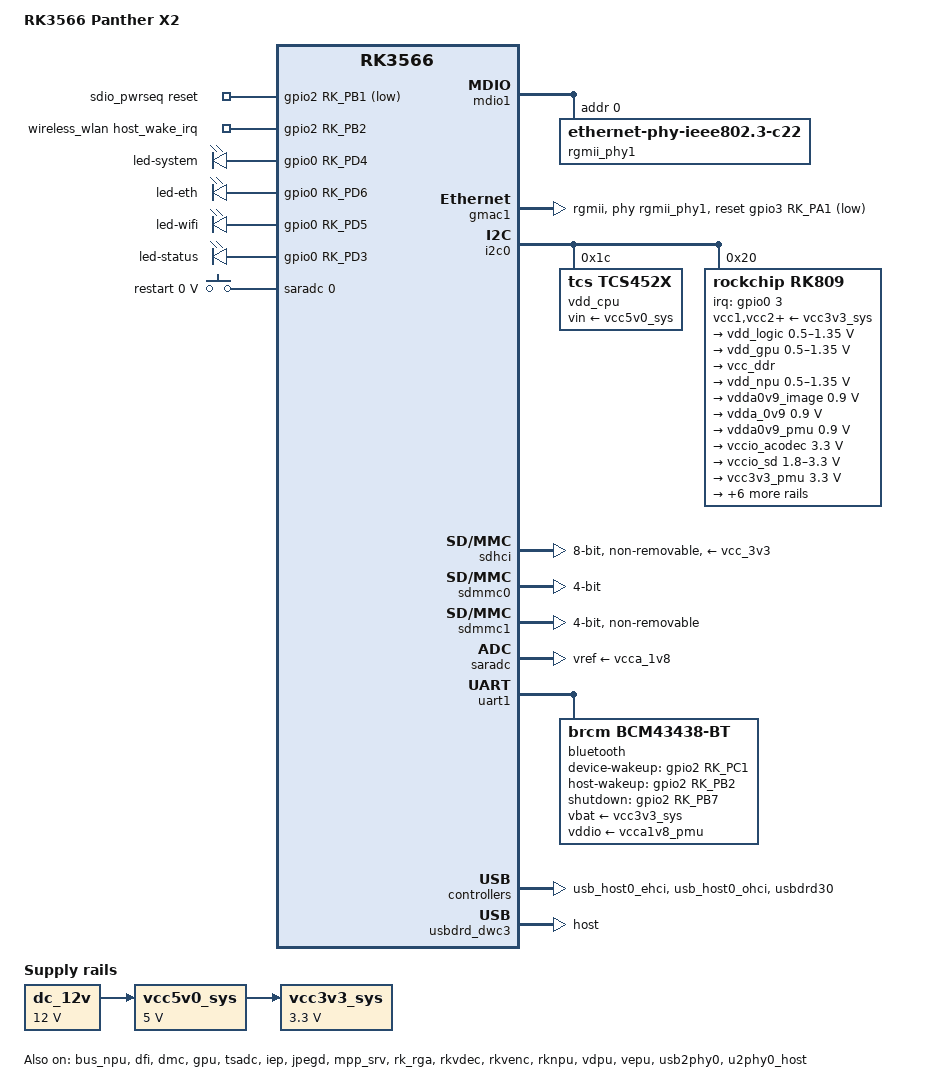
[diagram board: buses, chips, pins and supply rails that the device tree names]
/dts-v1/;
#include <dt-bindings/gpio/gpio.h>
#include <dt-bindings/leds/common.h>
#include <dt-bindings/input/rk-input.h>
#include "rk3566.dtsi"

/ {
	model = "RK3566 Panther X2";
	compatible = "rockchip,panther-x2", "rockchip,rk3566";

	chosen: chosen {
		stdout-path = &uart2;
		u-boot,spl-boot-order = &sdmmc0, &sdhci;
	};

	aliases: aliases {
		mmc0 = &sdhci;
		mmc1 = &sdmmc0;
	};

	fiq_debugger: fiq-debugger {
		compatible = "rockchip,fiq-debugger";
		rockchip,serial-id = <2>;
		rockchip,wake-irq = <0>;
		rockchip,irq-mode-enable = <1>;
		rockchip,baudrate = <1500000>;
		interrupts = <GIC_SPI 252 IRQ_TYPE_LEVEL_LOW>;
		pinctrl-names = "default";
		pinctrl-0 = <&uart2m0_xfer>;
		status = "okay";
	};

	dc_12v: dc-12v {
		compatible = "regulator-fixed";
		regulator-name = "dc_12v";
		regulator-min-microvolt = <12000000>;
		regulator-max-microvolt = <12000000>;
		regulator-always-on;
		regulator-boot-on;
	};

	vcc5v0_sys: vcc5v0-sys {
		compatible = "regulator-fixed";
		regulator-name = "vcc5v0_sys";
		regulator-min-microvolt = <5000000>;
		regulator-max-microvolt = <5000000>;
		regulator-always-on;
		regulator-boot-on;
		vin-supply = <&dc_12v>;
	};
	
	vcc3v3_sys: vcc3v3-sys {
		compatible = "regulator-fixed";
		regulator-name = "vcc3v3_sys";
		regulator-min-microvolt = <3300000>;
		regulator-max-microvolt = <3300000>;
		regulator-always-on;
		regulator-boot-on;
		vin-supply = <&vcc5v0_sys>;
	};

	sdio_pwrseq: sdio-pwrseq {
		compatible = "mmc-pwrseq-simple";
		clocks = <&rk809 1>;
		clock-names = "ext_clock";
		post-power-on-delay-ms = <100>;
		reset-gpios = <&gpio2 RK_PB1 GPIO_ACTIVE_LOW>;
	};

	wireless_wlan: wireless-wlan {
		compatible = "wlan-platdata";
		WIFI,host_wake_irq = <&gpio2 RK_PB2 GPIO_ACTIVE_HIGH>;
		rockchip,grf = <&grf>;
		wifi_chip_type = "ap6236";
		status = "okay";
	};

	leds: leds {
		compatible = "gpio-leds";

		led-system {
			gpios = <&gpio0 RK_PD4 GPIO_ACTIVE_HIGH>;
			linux,default-trigger = "default-on";
			function = LED_FUNCTION_POWER;
			default-state = "on";
		};

		led-eth {
			gpios = <&gpio0 RK_PD6 GPIO_ACTIVE_HIGH>;
			linux,default-trigger = "activity";
			function = LED_FUNCTION_ACTIVITY;
			default-state = "on";
		};

		led-wifi {
			gpios = <&gpio0 RK_PD5 GPIO_ACTIVE_HIGH>;
			linux,default-trigger = "activity";
			function = LED_FUNCTION_ACTIVITY;
			default-state = "on";
		};

		led-status {
			gpios = <&gpio0 RK_PD3 GPIO_ACTIVE_HIGH>;
			linux,default-trigger = "heartbeat";
			function = LED_FUNCTION_HEARTBEAT;
			default-state = "on";
		};
	};

	adc_keys: adc-keys {
		compatible = "adc-keys";
		io-channels = <&saradc 0>;
		io-channel-names = "buttons";
		keyup-threshold-microvolt = <1800000>;
		poll-interval = <100>;

		restart-key {
			label = "restart";
			linux,code = <KEY_RESTART>;
			press-threshold-microvolt = <0>;
		};
	};
};

&mdio1 {
	rgmii_phy1: ethernet-phy@0 {
		compatible = "ethernet-phy-ieee802.3-c22";
		reg = <0x0>;
	};
};

&gmac1 {
	assigned-clocks = <&cru SCLK_GMAC1_RX_TX>, <&cru SCLK_GMAC1>;
	assigned-clock-parents = <&cru SCLK_GMAC1_RGMII_SPEED>, <&cru CLK_MAC1_2TOP>;
	assigned-clock-rates = <0>, <125000000>;
	clock_in_out = "input";

	snps,reset-gpio = <&gpio3 RK_PA1 GPIO_ACTIVE_LOW>;
	snps,reset-active-low;
	snps,reset-delays-us = <0 20000 100000>;

	phy-handle = <&rgmii_phy1>;
	phy-mode = "rgmii";

	pinctrl-names = "default";
	pinctrl-0 = <&gmac1m0_miim
		     &gmac1m0_tx_bus2
		     &gmac1m0_rx_bus2
		     &gmac1m0_rgmii_clk
		     &gmac1m0_rgmii_bus>;

	tx_delay = <0x41>;
	rx_delay = <0x2e>;

	status = "okay";
};

&bus_npu {
	bus-supply = <&vdd_logic>;
	pvtm-supply = <&vdd_cpu>;
	status = "okay";
};

&cpu0 {
	cpu-supply = <&vdd_cpu>;
};

&cpu1 {
	cpu-supply = <&vdd_cpu>;
};

&cpu2 {
	cpu-supply = <&vdd_cpu>;
};

&cpu3 {
	cpu-supply = <&vdd_cpu>;
};

&dfi {
	status = "okay";
};

&dmc {
	center-supply = <&vdd_logic>;
	status = "okay";
};

&gpu {
	clock-names = "gpu", "bus";
	interrupt-names = "gpu", "mmu", "job";
	mali-supply = <&vdd_gpu>;
	status = "okay";
};

&i2c0 {
	status = "okay";

	vdd_cpu: tcs4525@1c {
		compatible = "tcs,tcs452x";
		reg = <0x1c>;
		vin-supply = <&vcc5v0_sys>;
		regulator-compatible = "fan53555-reg";
		regulator-name = "vdd_cpu";
		regulator-min-microvolt = <712500>;
		regulator-max-microvolt = <1390000>;
		regulator-init-microvolt = <900000>;
		regulator-ramp-delay = <2300>;
		fcs,suspend-voltage-selector = <1>;
		regulator-boot-on;
		regulator-always-on;

		regulator-state-mem {
			regulator-off-in-suspend;
		};
	};

	rk809: pmic@20 {
		compatible = "rockchip,rk809";
		reg = <0x20>;
		interrupt-parent = <&gpio0>;
		interrupts = <3 IRQ_TYPE_LEVEL_LOW>;
		rockchip,system-power-controller;
		wakeup-source;
		#clock-cells = <1>;
		clock-output-names = "rk808-clkout1", "rk808-clkout2";
		pmic-reset-func = <0>;
		not-save-power-en = <1>;

		vcc1-supply = <&vcc3v3_sys>;
		vcc2-supply = <&vcc3v3_sys>;
		vcc3-supply = <&vcc3v3_sys>;
		vcc4-supply = <&vcc3v3_sys>;
		vcc5-supply = <&vcc3v3_sys>;
		vcc6-supply = <&vcc3v3_sys>;
		vcc7-supply = <&vcc3v3_sys>;
		vcc8-supply = <&vcc3v3_sys>;
		vcc9-supply = <&vcc3v3_sys>;

		pwrkey {
			status = "okay";
		};

		regulators {

			vdd_logic: DCDC_REG1 {
				regulator-always-on;
				regulator-boot-on;
				regulator-min-microvolt = <500000>;
				regulator-max-microvolt = <1350000>;
				regulator-init-microvolt = <900000>;
				regulator-ramp-delay = <6001>;
				regulator-initial-mode = <0x02>;
				regulator-name = "vdd_logic";

				regulator-state-mem {
					regulator-off-in-suspend;
				};
			};

			vdd_gpu: DCDC_REG2 {
				regulator-always-on;
				regulator-boot-on;
				regulator-min-microvolt = <500000>;
				regulator-max-microvolt = <1350000>;
				regulator-init-microvolt = <900000>;
				regulator-ramp-delay = <6001>;
				regulator-initial-mode = <0x02>;
				regulator-name = "vdd_gpu";

				regulator-state-mem {
					regulator-off-in-suspend;
				};
			};

			vcc_ddr: DCDC_REG3 {
				regulator-always-on;
				regulator-boot-on;
				regulator-initial-mode = <0x02>;
				regulator-name = "vcc_ddr";

				regulator-state-mem {
					regulator-on-in-suspend;
				};
			};

			vdd_npu: DCDC_REG4 {
				regulator-always-on;
				regulator-boot-on;
				regulator-min-microvolt = <500000>;
				regulator-max-microvolt = <1350000>;
				regulator-init-microvolt = <900000>;
				regulator-ramp-delay = <6001>;
				regulator-initial-mode = <0x02>;
				regulator-name = "vdd_npu";

				regulator-state-mem {
					regulator-off-in-suspend;
				};
			};

			vdda0v9_image: LDO_REG1 {
				regulator-boot-on;
				regulator-always-on;
				regulator-min-microvolt = <900000>;
				regulator-max-microvolt = <900000>;
				regulator-name = "vdda0v9_image";

				regulator-state-mem {
					regulator-off-in-suspend;
				};
			};

			vdda_0v9: LDO_REG2 {
				regulator-always-on;
				regulator-boot-on;
				regulator-min-microvolt = <900000>;
				regulator-max-microvolt = <900000>;
				regulator-name = "vdda_0v9";

				regulator-state-mem {
					regulator-off-in-suspend;
				};
			};

			vdda0v9_pmu: LDO_REG3 {
				regulator-always-on;
				regulator-boot-on;
				regulator-min-microvolt = <900000>;
				regulator-max-microvolt = <900000>;
				regulator-name = "vdda0v9_pmu";

				regulator-state-mem {
					regulator-on-in-suspend;
					regulator-suspend-microvolt = <900000>;
				};
			};

			vccio_acodec: LDO_REG4 {
				regulator-always-on;
				regulator-boot-on;
				regulator-min-microvolt = <3300000>;
				regulator-max-microvolt = <3300000>;
				regulator-name = "vccio_acodec";

				regulator-state-mem {
					regulator-off-in-suspend;
				};
			};

			vccio_sd: LDO_REG5 {
				regulator-always-on;
				regulator-boot-on;
				regulator-min-microvolt = <1800000>;
				regulator-max-microvolt = <3300000>;
				regulator-name = "vccio_sd";

				regulator-state-mem {
					regulator-off-in-suspend;
				};
			};

			vcc3v3_pmu: LDO_REG6 {
				regulator-always-on;
				regulator-boot-on;
				regulator-min-microvolt = <3300000>;
				regulator-max-microvolt = <3300000>;
				regulator-name = "vcc3v3_pmu";

				regulator-state-mem {
					regulator-on-in-suspend;
					regulator-suspend-microvolt = <3300000>;
				};
			};

			vcca_1v8: LDO_REG7 {
				regulator-always-on;
				regulator-boot-on;
				regulator-min-microvolt = <1800000>;
				regulator-max-microvolt = <1800000>;
				regulator-name = "vcca_1v8";

				regulator-state-mem {
					regulator-off-in-suspend;
				};
			};

			vcca1v8_pmu: LDO_REG8 {
				regulator-always-on;
				regulator-boot-on;
				regulator-min-microvolt = <1800000>;
				regulator-max-microvolt = <1800000>;
				regulator-name = "vcca1v8_pmu";

				regulator-state-mem {
					regulator-on-in-suspend;
					regulator-suspend-microvolt = <1800000>;
				};
			};

			vcca1v8_image: LDO_REG9 {
				regulator-always-on;
				regulator-boot-on;
				regulator-min-microvolt = <1800000>;
				regulator-max-microvolt = <1800000>;
				regulator-name = "vcca1v8_image";

				regulator-state-mem {
					regulator-off-in-suspend;
				};
			};

			vcc_1v8: DCDC_REG5 {
				regulator-always-on;
				regulator-boot-on;
				regulator-min-microvolt = <1800000>;
				regulator-max-microvolt = <1800000>;
				regulator-name = "vcc_1v8";

				regulator-state-mem {
					regulator-off-in-suspend;
				};
			};

			vcc_3v3: SWITCH_REG1 {
				regulator-always-on;
				regulator-boot-on;
				regulator-name = "vcc_3v3";

				regulator-state-mem {
					regulator-off-in-suspend;
				};
			};

			vcc3v3_sd: SWITCH_REG2 {
				regulator-always-on;
				regulator-boot-on;
				regulator-name = "vcc3v3_sd";

				regulator-state-mem {
					regulator-off-in-suspend;
				};
			};
		};

		rk809_codec: codec {
			#sound-dai-cells = <0>;
			compatible = "rockchip,rk809-codec", "rockchip,rk817-codec";
			clocks = <&cru I2S1_MCLKOUT>;
			clock-names = "mclk";
			assigned-clocks = <&cru I2S1_MCLKOUT>, <&cru I2S1_MCLK_TX_IOE>;
			assigned-clock-rates = <12288000>;
			assigned-clock-parents = <&cru I2S1_MCLKOUT_TX>, <&cru I2S1_MCLKOUT_TX>;
			pinctrl-names = "default";
			pinctrl-0 = <&i2s1m0_mclk>;
			hp-volume = <20>;
			spk-volume = <3>;
			mic-in-differential;
			status = "okay";
		};
	};
};

&pmu_io_domains {
	pmuio1-supply = <&vcc3v3_pmu>;
	pmuio2-supply = <&vcc3v3_pmu>;
	vccio1-supply = <&vccio_acodec>;
	vccio3-supply = <&vccio_sd>;
	vccio4-supply = <&vcc_1v8>;
	vccio5-supply = <&vcc_3v3>;
	vccio6-supply = <&vcc_3v3>;
	vccio7-supply = <&vcc_3v3>;
	status = "okay";
};

&sdhci {
	bus-width = <8>;
	mmc-hs200-1_8v;
	non-removable;
	vmmc-supply = <&vcc_3v3>;
	vqmmc-supply = <&vcc_1v8>;
	status = "okay";
};

&sdmmc0 {
	bus-width = <4>;
	cap-mmc-highspeed;
	cap-sd-highspeed;
	supports-sd;
	disable-wp;
	pinctrl-names = "default";
	pinctrl-0 = <&sdmmc0_bus4 &sdmmc0_clk &sdmmc0_cmd &sdmmc0_det>;
	vqmmc-supply = <&vccio_sd>;
	status = "okay";
};

&sdmmc1 {
	supports-sdio;
	bus-width = <4>;
	disable-wp;
	cap-sd-highspeed;
	cap-sdio-irq;
	keep-power-in-suspend;
	non-removable;
	mmc-pwrseq = <&sdio_pwrseq>;
	pinctrl-names = "default";
	pinctrl-0 = <&sdmmc1_bus4 &sdmmc1_cmd &sdmmc1_clk>;
	status = "okay";
};

&tsadc {
	rockchip,hw-tshut-mode = <0>;
	rockchip,hw-tshut-polarity = <0>;
	rockchip,hw-tshut-temp = <120000>;
	status = "okay";
};

&saradc {
	vref-supply = <&vcca_1v8>;
	status = "okay";
};

&uart1 {
	status = "okay";
	pinctrl-names = "default";
	pinctrl-0 = <&uart1m0_xfer &uart1m0_ctsn &uart1m0_rtsn>;

	bluetooth {
		compatible = "brcm,bcm43438-bt";
		clocks = <&rk809 1>;
		clock-names = "ext_clock";
		device-wakeup-gpios = <&gpio2 RK_PC1 GPIO_ACTIVE_HIGH>;
		host-wakeup-gpios = <&gpio2 RK_PB2 GPIO_ACTIVE_HIGH>;
		shutdown-gpios = <&gpio2 RK_PB7 GPIO_ACTIVE_HIGH>;
		vbat-supply = <&vcc3v3_sys>;
		vddio-supply = <&vcca1v8_pmu>;
	};
};

&uart2 {
	status = "disabled";
};

&iep {
	status = "okay";
};

&iep_mmu {
	status = "okay";
};

&jpegd {
	status = "okay";
};

&jpegd_mmu {
	status = "okay";
};

&mpp_srv {
	status = "okay";
};

&rk_rga {
	status = "okay";
};

&rkvdec {
	status = "okay";
};

&rkvdec_mmu {
	status = "okay";
};

&rkvenc {
	venc-supply = <&vdd_logic>;
	status = "okay";
};

&rkvenc_mmu {
	status = "okay";
};

&rknpu {
	rknpu-supply = <&vdd_npu>;
	status = "okay";
};

&rknpu_mmu {
	status = "okay";
};

&vdpu {
	status = "okay";
};

&vdpu_mmu {
	status = "okay";
};

&vepu {
	status = "okay";
};

&vepu_mmu {
	status = "okay";
};

&usb2phy0 {
	status = "okay";
};

&u2phy0_host {
	status = "okay";
};

&usb_host0_ehci {
	status = "okay";
};

&usb_host0_ohci {
	status = "okay";
};

&usbdrd30 {
    status = "okay";
};

&usbdrd_dwc3 {
	dr_mode = "host";
	extcon = <&usb2phy0>;
	status = "okay";
};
